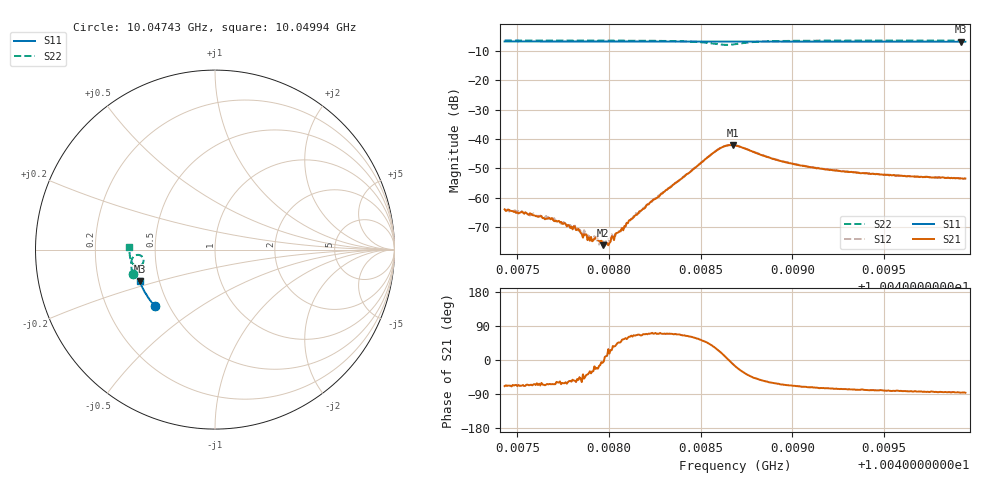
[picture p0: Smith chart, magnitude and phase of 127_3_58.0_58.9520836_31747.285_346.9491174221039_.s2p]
#  HZ  S  RI  R  50.00
! Rohde & Schwarz Vector Network Analyzer
! Rohde-Schwarz,ZNB20-2Port,1311601062101988,3.16
! Created: UTC 3/21/2024, 12:55:58 AM
! freq[Hz]  re:S11  im:S11  re:S21  im:S21  re:S12  im:S12  re:S22  im:S22
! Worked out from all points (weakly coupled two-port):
!   401 points, 10.04743 GHz to 10.04994 GHz, reference 50 ohm
!   highest |S21| = -42.02 dB at 10.04867 GHz (marker M1); lowest = -76.2 dB at 10.04796 GHz (marker M2)
!   lowest |S11| = -6.8 dB at 10.04992 GHz (marker M3), VSWR 2.67, Z = 19.3 - j8.63 ohm
!   |S11| at or under -10 dB: nowhere
!   |S22| runs from -7.9 to -6.4 dB; largest |S21 - S12| = 0.00054
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1.004743e10  -0.3343 -0.3162  0.000229 -0.000592  0.000286 -0.000531  -0.4589 -0.135
1.0047681e10  -0.3453 -0.3034  0.000189 -0.000385  0.000219 -0.000368  -0.4629 -0.1172
1.004782e10  -0.3511 -0.2962  0.00015 -0.000238  0.000187 -0.000226  -0.4649 -0.1067
1.0047851e10  -0.3523 -0.2947  0.000126 -0.000205  0.000189 -0.000176  -0.465 -0.1043
1.0047876e10  -0.3532 -0.2932  0.000184 -0.000151  0.000195 -0.000159  -0.4654 -0.1024
1.0047895e10  -0.3541 -0.2923  0.000161 -9.22e-05  0.000188 -9.83e-05  -0.4657 -0.1009
1.0047927e10  -0.3554 -0.2907  0.000185 -8.06e-05  0.000181 -0.000103  -0.466 -0.0982
1.0047945e10  -0.3561 -0.2896  0.000177 -5.02e-05  0.000159 -1.81e-05  -0.4661 -0.0969
1.0047964e10  -0.3569 -0.2886  0.000153 -1.99e-05  0.000157 -1.85e-05  -0.4664 -0.0954
1.0047977e10  -0.3574 -0.2879  0.000156 2.19e-05  0.000146 3.2e-05  -0.4664 -0.0943
1.0047996e10  -0.3582 -0.287  0.000136 7.42e-05  0.000196 4.06e-05  -0.4667 -0.0926
1.0048109e10  -0.3625 -0.281  0.000197 0.000362  0.000169 0.000362  -0.4672 -0.0827
1.0048272e10  -0.369 -0.2722  0.000368 0.000973  0.00031 0.00105  -0.4662 -0.0658
1.004858e10  -0.3798 -0.2548  0.00527 0.00324  0.00508 0.0036  -0.4178 -0.0315
1.0048631e10  -0.3812 -0.2523  0.00742 0.00137  0.00734 0.00185  -0.3997 -0.0498
1.0048675e10  -0.3826 -0.25  0.00779 -0.00142  0.00788 -0.000907  -0.4011 -0.0742
1.0048687e10  -0.3831 -0.2493  0.00748 -0.00215  0.00766 -0.00165  -0.4046 -0.0798
1.0048907e10  -0.391 -0.2373  0.00214 -0.00393  0.00236 -0.00385  -0.4608 -0.0757
1.0049108e10  -0.3976 -0.2255  0.00103 -0.00313  0.00121 -0.0031  -0.471 -0.0527
1.004953e10  -0.4098 -0.2005  0.000361 -0.00238  0.000528 -0.00241  -0.4761 -0.0171
1.0049919e10  -0.42 -0.1768  0.00014 -0.00213  0.000268 -0.00212  -0.4765 0.0112
1.0049944e10  -0.4206 -0.1753  0.000134 -0.00212  0.000266 -0.00211  -0.4764 0.013
